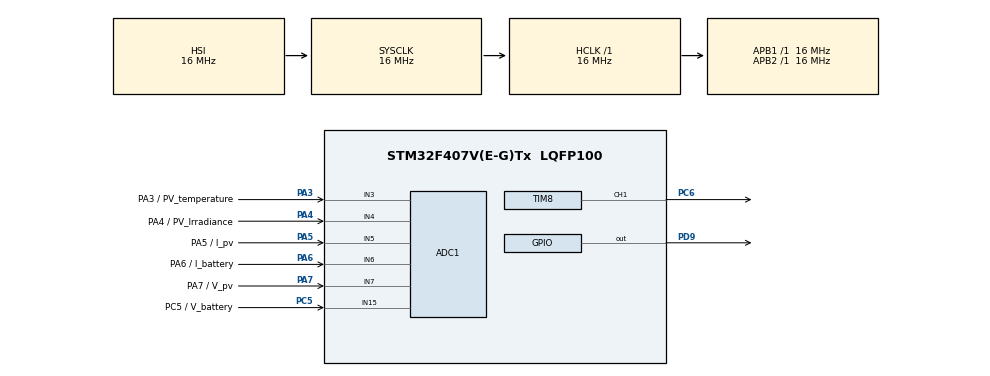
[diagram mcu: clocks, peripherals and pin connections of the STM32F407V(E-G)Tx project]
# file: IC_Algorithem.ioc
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ADC1.Channel-0\#ChannelRegularConversion=ADC_CHANNEL_7
ADC1.Channel-1\#ChannelRegularConversion=ADC_CHANNEL_5
ADC1.Channel-2\#ChannelRegularConversion=ADC_CHANNEL_15
ADC1.Channel-3\#ChannelRegularConversion=ADC_CHANNEL_6
ADC1.Channel-4\#ChannelRegularConversion=ADC_CHANNEL_4
ADC1.Channel-5\#ChannelRegularConversion=ADC_CHANNEL_3
ADC1.ContinuousConvMode=ENABLE
ADC1.DMAContinuousRequests=ENABLE
ADC1.InjNumberOfConversion=0
ADC1.NbrOfConversion=6
ADC1.NbrOfConversionFlag=1
ADC1.Rank-0\#ChannelRegularConversion=1
ADC1.Rank-1\#ChannelRegularConversion=2
ADC1.Rank-2\#ChannelRegularConversion=3
ADC1.Rank-3\#ChannelRegularConversion=4
ADC1.Rank-4\#ChannelRegularConversion=5
ADC1.Rank-5\#ChannelRegularConversion=6
ADC1.SamplingTime-0\#ChannelRegularConversion=ADC_SAMPLETIME_480CYCLES
ADC1.SamplingTime-1\#ChannelRegularConversion=ADC_SAMPLETIME_480CYCLES
ADC1.SamplingTime-2\#ChannelRegularConversion=ADC_SAMPLETIME_480CYCLES
ADC1.SamplingTime-3\#ChannelRegularConversion=ADC_SAMPLETIME_480CYCLES
ADC1.SamplingTime-4\#ChannelRegularConversion=ADC_SAMPLETIME_480CYCLES
ADC1.SamplingTime-5\#ChannelRegularConversion=ADC_SAMPLETIME_480CYCLES
ADC1.ScanConvMode=ENABLE
ADC1.master=1
Dma.ADC1.0.Direction=DMA_PERIPH_TO_MEMORY
Dma.ADC1.0.FIFOMode=DMA_FIFOMODE_DISABLE
Dma.ADC1.0.Instance=DMA2_Stream0
Dma.ADC1.0.MemDataAlignment=DMA_MDATAALIGN_WORD
Dma.ADC1.0.MemInc=DMA_MINC_ENABLE
Dma.ADC1.0.Mode=DMA_CIRCULAR
Dma.ADC1.0.PeriphDataAlignment=DMA_PDATAALIGN_WORD
Dma.ADC1.0.PeriphInc=DMA_PINC_DISABLE
Dma.ADC1.0.Priority=DMA_PRIORITY_LOW
Dma.Request0=ADC1
Mcu.Family=STM32F4
Mcu.Name=STM32F407V(E-G)Tx
Mcu.Package=LQFP100
NVIC.DMA2_Stream0_IRQn=true\:0\:0\:false\:false\:true\:false\:true\:true
NVIC.PriorityGroup=NVIC_PRIORITYGROUP_4
PA13.Mode=Serial_Wire
PA13.Signal=SYS_JTMS-SWDIO
PA14.Mode=Serial_Wire
PA14.Signal=SYS_JTCK-SWCLK
PA3.GPIO_Label=PA3 / PV_temperature
PA3.Signal=ADCx_IN3
PA4.GPIO_Label=PA4 / PV_Irradiance
PA4.Signal=ADCx_IN4
PA5.GPIO_Label=PA5 / I_pv
PA5.Signal=ADCx_IN5
PA6.GPIO_Label=PA6 / I_battery
PA6.Signal=ADCx_IN6
PA7.GPIO_Label=PA7 / V_pv
PA7.Signal=ADCx_IN7
PC5.GPIO_Label=PC5 / V_battery
PC5.Signal=ADCx_IN15
PC6.Signal=S_TIM8_CH1
PD9.Signal=GPIO_Output
PH0-OSC_IN.Mode=HSE-External-Oscillator
PH0-OSC_IN.Signal=RCC_OSC_IN
PH1-OSC_OUT.Mode=HSE-External-Oscillator
PH1-OSC_OUT.Signal=RCC_OSC_OUT
ProjectManager.HeapSize=0x200
ProjectManager.StackSize=0x400
ProjectManager.TargetToolchain=STM32CubeIDE
RCC.AHBFreq_Value=16000000
RCC.APB1Freq_Value=16000000
RCC.APB2Freq_Value=16000000
RCC.CortexFreq_Value=16000000
RCC.HSE_VALUE=25000000
RCC.HSI_VALUE=16000000
RCC.LSE_VALUE=32768
RCC.SYSCLKFreq_VALUE=16000000
RCC.VCOOutputFreq_Value=192000000
SH.ADCx_IN15.0=ADC1_IN15,IN15
SH.ADCx_IN3.0=ADC1_IN3,IN3
SH.ADCx_IN4.0=ADC1_IN4,IN4
SH.ADCx_IN5.0=ADC1_IN5,IN5
SH.ADCx_IN6.0=ADC1_IN6,IN6
SH.ADCx_IN7.0=ADC1_IN7,IN7
SH.S_TIM8_CH1.0=TIM8_CH1,PWM Generation1 CH1
TIM8.Channel-PWM\ Generation1\ CH1=TIM_CHANNEL_1
board=custom

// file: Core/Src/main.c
/* USER CODE BEGIN Header */
/**
  ******************************************************************************
  * @file           : main.c
  * @brief          : Main program body - IC MPPT with Under-Voltage Protection
  ******************************************************************************
  */
/* USER CODE END Header */
#include "main.h"
#include <math.h> // Needed for fabs()

ADC_HandleTypeDef hadc1;
DMA_HandleTypeDef hdma_adc1;

TIM_HandleTypeDef htim8;

/* USER CODE BEGIN PV */
// Raw ADC values updated automatically by DMA
// [0]=V_pv, [1]=I_pv, [2]=V_bat, [3]=I_bat, [4]=Irr, [5]=Temp
volatile uint32_t adc_values[6];

// Float array to hold the calculated real-world values for Live Expressions
volatile float actual_values[6];

// --- MPPT Persistent Variables ---
float V_prev = 0.0f;
float I_prev = 0.0f;
float D_prev = 0.15f; // Start at D_min

// Timing variable for MPPT execution rate
uint32_t last_mppt_run_time = 0;

// State variable for Under-Voltage Lockout (UVLO)
uint8_t system_is_active = 0; // 0 = OFF, 1 = ON
/* USER CODE END PV */

void SystemClock_Config(void);
static void MX_GPIO_Init(void);
static void MX_DMA_Init(void);
static void MX_ADC1_Init(void);
static void MX_TIM8_Init(void);

int main(void)
{

  /* MCU Configuration--------------------------------------------------------*/

  /* Reset of all peripherals, Initializes the Flash interface and the Systick. */

	HAL_Init();

  /* Configure the system clock */
  SystemClock_Config();

  /* Initialize all configured peripherals */
  MX_GPIO_Init();
  MX_DMA_Init();
  MX_ADC1_Init();
  MX_TIM8_Init();

  /* USER CODE BEGIN 2 */

  // Keep Gate Driver OFF initially for safety
  HAL_GPIO_WritePin(GPIOD, GPIO_PIN_9, GPIO_PIN_RESET);

  if (HAL_TIM_PWM_Start(&htim8, TIM_CHANNEL_1) != HAL_OK)
  {
      Error_Handler();
  }

  // Start the ADC in DMA mode
  HAL_ADC_Start_DMA(&hadc1, (uint32_t*)adc_values, 6);

  /* USER CODE END 2 */

  /* Infinite loop */
  /* USER CODE BEGIN WHILE */
  while (1)
  {
	  //this is normal pv soalr
      // --- CALIBRATION MATH ---
      actual_values[0] = (0.0076146f * (float)adc_values[0]) - 0.0804105f; // V_PV
      actual_values[1] = (0.0014478f * (float)adc_values[1]) - 0.1090731f; // I_PV
      actual_values[2] = (0.0111027f * (float)adc_values[2]) - 0.1062549f; // V_BATT add another resistor
      actual_values[3] = (0.0012095f * (float)adc_values[3]) + 0.1003010f; // I_BATT
      actual_values[4] = (44.2522078f * (float)adc_values[4]) - 144.5912166f; // PV_Irradiance (Lux)
      actual_values[5] = (0.0802774f  * (float)adc_values[5]) - 5.0963303f;  // PV_Temperature (C)

      // Clamp negative values to 0 for cleaner math
      for(int i = 0; i < 4; i++) {
          if (actual_values[i] < 0.0f) actual_values[i] = 0.0f;
      }

      // --- UNDER-VOLTAGE LOCKOUT (WITH HYSTERESIS) ---
      // If the system is currently ON, but voltage drops below 10V -> Turn OFF
      if (system_is_active == 1 && actual_values[0] < 10.0f)
      {
          system_is_active = 0;
      }
      // If the system is currently OFF, wait until voltage rises above 12V to turn back ON
      else if (system_is_active == 0 && actual_values[0] > 12.0f)
      {
          system_is_active = 1;
      }

      // --- EXECUTE BASED ON SYSTEM STATE ---
      if (system_is_active == 0)
      {
          // SYSTEM OFF: Voltage is too low (Night time / heavy shade)
          HAL_GPIO_WritePin(GPIOD, GPIO_PIN_9, GPIO_PIN_RESET); // Disable Gate Driver
          __HAL_TIM_SET_COMPARE(&htim8, TIM_CHANNEL_1, 0);      // Set PWM to 0%

          // Reset MPPT variables so it starts fresh when the sun comes back
          D_prev = 0.15f;
          V_prev = actual_values[0];
          I_prev = actual_values[1];
      }
      else
      {
          // SYSTEM ON: Sun is up and voltage is stable
          HAL_GPIO_WritePin(GPIOD, GPIO_PIN_9, GPIO_PIN_SET);   // Enable Gate Driver

          // --- INCREMENTAL CONDUCTANCE MPPT ALGORITHM ---
          // Run the MPPT logic every 10 milliseconds (100 Hz sampling rate)
          if (HAL_GetTick() - last_mppt_run_time >= 10)
          {
              last_mppt_run_time = HAL_GetTick();

              float V = actual_values[0];
              float I = actual_values[1];
              float duty = D_prev;

              float deltaD = 0.002f;
              float D_max = 0.85f;
              float D_min = 0.15f;
              float tol = 0.4f;

              // Prevent division by zero
              if (V < 0.1f) V = 0.1f;

              float dV = V - V_prev;
              float dI = I - I_prev;

              if (fabs(dV) < 0.01f) // Floating point safety
              {
                  if (fabs(dI) < 0.01f) {
                      duty = D_prev;
                  } else if (dI > 0) {
                      duty = D_prev - deltaD;
                  } else {
                      duty = D_prev + deltaD;
                  }
              }
              else
              {
                  float G = I / V;
                  float dG = dI / dV;

                  if (fabs(dG + G) < tol) {
                      duty = D_prev;
                  } else if (dG > -G) {
                      duty = D_prev - deltaD;
                  } else {
                      duty = D_prev + deltaD;
                  }
              }

              // Apply Duty Cycle Limits
              if (duty > D_max) duty = D_max;
              if (duty < D_min) duty = D_min;

              // Update state variables for next cycle
              V_prev = V;
              I_prev = I;
              D_prev = duty;

              // Apply to Hardware Timer (Multiply 0.0-1.0 by 100 for the Timer ARR)
              uint32_t timer_compare_value = (uint32_t)(duty * 100.0f);
              __HAL_TIM_SET_COMPARE(&htim8, TIM_CHANNEL_1, timer_compare_value);
          }
      }

      // Small delay just to prevent CPU maxing out
      HAL_Delay(1);

    /* USER CODE END WHILE */

  }
}

void SystemClock_Config(void)
{
  RCC_OscInitTypeDef RCC_OscInitStruct = {0};
  RCC_ClkInitTypeDef RCC_ClkInitStruct = {0};

  __HAL_RCC_PWR_CLK_ENABLE();
  __HAL_PWR_VOLTAGESCALING_CONFIG(PWR_REGULATOR_VOLTAGE_SCALE1);

  RCC_OscInitStruct.OscillatorType = RCC_OSCILLATORTYPE_HSI;
  RCC_OscInitStruct.HSIState = RCC_HSI_ON;
  RCC_OscInitStruct.HSICalibrationValue = RCC_HSICALIBRATION_DEFAULT;
  RCC_OscInitStruct.PLL.PLLState = RCC_PLL_NONE;
  if (HAL_RCC_OscConfig(&RCC_OscInitStruct) != HAL_OK)
  {
    Error_Handler();
  }

  RCC_ClkInitStruct.ClockType = RCC_CLOCKTYPE_HCLK|RCC_CLOCKTYPE_SYSCLK
                              |RCC_CLOCKTYPE_PCLK1|RCC_CLOCKTYPE_PCLK2;
  RCC_ClkInitStruct.SYSCLKSource = RCC_SYSCLKSOURCE_HSI;
  RCC_ClkInitStruct.AHBCLKDivider = RCC_SYSCLK_DIV1;
  RCC_ClkInitStruct.APB1CLKDivider = RCC_HCLK_DIV1;
  RCC_ClkInitStruct.APB2CLKDivider = RCC_HCLK_DIV1;

  if (HAL_RCC_ClockConfig(&RCC_ClkInitStruct, FLASH_LATENCY_0) != HAL_OK)
  {
    Error_Handler();
  }
}

static void MX_ADC1_Init(void)
{
  ADC_ChannelConfTypeDef sConfig = {0};

  hadc1.Instance = ADC1;
  hadc1.Init.ClockPrescaler = ADC_CLOCK_SYNC_PCLK_DIV2;
  hadc1.Init.Resolution = ADC_RESOLUTION_12B;
  hadc1.Init.ScanConvMode = ENABLE;
  hadc1.Init.ContinuousConvMode = ENABLE;
  hadc1.Init.DiscontinuousConvMode = DISABLE;
  hadc1.Init.ExternalTrigConvEdge = ADC_EXTERNALTRIGCONVEDGE_NONE;
  hadc1.Init.ExternalTrigConv = ADC_SOFTWARE_START;
  hadc1.Init.DataAlign = ADC_DATAALIGN_RIGHT;
  hadc1.Init.NbrOfConversion = 6;
  hadc1.Init.DMAContinuousRequests = ENABLE;
  hadc1.Init.EOCSelection = ADC_EOC_SINGLE_CONV;
  if (HAL_ADC_Init(&hadc1) != HAL_OK)
  {
    Error_Handler();
  }

  sConfig.Channel = ADC_CHANNEL_7;
  sConfig.Rank = 1;
  sConfig.SamplingTime = ADC_SAMPLETIME_480CYCLES;
  if (HAL_ADC_ConfigChannel(&hadc1, &sConfig) != HAL_OK) { Error_Handler(); }

  sConfig.Channel = ADC_CHANNEL_5;
  sConfig.Rank = 2;
  if (HAL_ADC_ConfigChannel(&hadc1, &sConfig) != HAL_OK) { Error_Handler(); }

  sConfig.Channel = ADC_CHANNEL_15;
  sConfig.Rank = 3;
  if (HAL_ADC_ConfigChannel(&hadc1, &sConfig) != HAL_OK) { Error_Handler(); }

  sConfig.Channel = ADC_CHANNEL_6;
  sConfig.Rank = 4;
  if (HAL_ADC_ConfigChannel(&hadc1, &sConfig) != HAL_OK) { Error_Handler(); }

  sConfig.Channel = ADC_CHANNEL_4;
  sConfig.Rank = 5;
  if (HAL_ADC_ConfigChannel(&hadc1, &sConfig) != HAL_OK) { Error_Handler(); }

  sConfig.Channel = ADC_CHANNEL_3;
  sConfig.Rank = 6;
  if (HAL_ADC_ConfigChannel(&hadc1, &sConfig) != HAL_OK) { Error_Handler(); }
}

static void MX_TIM8_Init(void)
{
  TIM_MasterConfigTypeDef sMasterConfig = {0};
  TIM_OC_InitTypeDef sConfigOC = {0};
  TIM_BreakDeadTimeConfigTypeDef sBreakDeadTimeConfig = {0};

  htim8.Instance = TIM8;
  htim8.Init.Prescaler = 15;
  htim8.Init.CounterMode = TIM_COUNTERMODE_UP;
  htim8.Init.Period = 99;
  htim8.Init.ClockDivision = TIM_CLOCKDIVISION_DIV1;
  htim8.Init.RepetitionCounter = 0;
  htim8.Init.AutoReloadPreload = TIM_AUTORELOAD_PRELOAD_ENABLE;
  if (HAL_TIM_PWM_Init(&htim8) != HAL_OK)
  {
    Error_Handler();
  }
  sMasterConfig.MasterOutputTrigger = TIM_TRGO_RESET;
  sMasterConfig.MasterSlaveMode = TIM_MASTERSLAVEMODE_DISABLE;
  if (HAL_TIMEx_MasterConfigSynchronization(&htim8, &sMasterConfig) != HAL_OK)
  {
    Error_Handler();
  }
  sConfigOC.OCMode = TIM_OCMODE_PWM1;
  sConfigOC.Pulse = 13;
  sConfigOC.OCPolarity = TIM_OCPOLARITY_HIGH;
  sConfigOC.OCNPolarity = TIM_OCNPOLARITY_HIGH;
  sConfigOC.OCFastMode = TIM_OCFAST_DISABLE;
  sConfigOC.OCIdleState = TIM_OCIDLESTATE_RESET;
  sConfigOC.OCNIdleState = TIM_OCNIDLESTATE_RESET;
  if (HAL_TIM_PWM_ConfigChannel(&htim8, &sConfigOC, TIM_CHANNEL_1) != HAL_OK)
  {
    Error_Handler();
  }
  sBreakDeadTimeConfig.OffStateRunMode = TIM_OSSR_DISABLE;
  sBreakDeadTimeConfig.OffStateIDLEMode = TIM_OSSI_DISABLE;
  sBreakDeadTimeConfig.LockLevel = TIM_LOCKLEVEL_OFF;
  sBreakDeadTimeConfig.DeadTime = 0;
  sBreakDeadTimeConfig.BreakState = TIM_BREAK_DISABLE;
  sBreakDeadTimeConfig.BreakPolarity = TIM_BREAKPOLARITY_HIGH;
  sBreakDeadTimeConfig.AutomaticOutput = TIM_AUTOMATICOUTPUT_DISABLE;
  if (HAL_TIMEx_ConfigBreakDeadTime(&htim8, &sBreakDeadTimeConfig) != HAL_OK)
  {
    Error_Handler();
  }
  HAL_TIM_MspPostInit(&htim8);
}

static void MX_DMA_Init(void)
{
  __HAL_RCC_DMA2_CLK_ENABLE();
  HAL_NVIC_SetPriority(DMA2_Stream0_IRQn, 0, 0);
  HAL_NVIC_EnableIRQ(DMA2_Stream0_IRQn);
}

static void MX_GPIO_Init(void)
{
  GPIO_InitTypeDef GPIO_InitStruct = {0};

  __HAL_RCC_GPIOH_CLK_ENABLE();
  __HAL_RCC_GPIOA_CLK_ENABLE();
  __HAL_RCC_GPIOC_CLK_ENABLE();
  __HAL_RCC_GPIOD_CLK_ENABLE();

  HAL_GPIO_WritePin(GPIOD, GPIO_PIN_9, GPIO_PIN_RESET);

  GPIO_InitStruct.Pin = GPIO_PIN_9;
  GPIO_InitStruct.Mode = GPIO_MODE_OUTPUT_PP;
  GPIO_InitStruct.Pull = GPIO_NOPULL;
  GPIO_InitStruct.Speed = GPIO_SPEED_FREQ_LOW;
  HAL_GPIO_Init(GPIOD, &GPIO_InitStruct);
}

void Error_Handler(void)
{
  __disable_irq();
  while (1)
  {
  }
}
